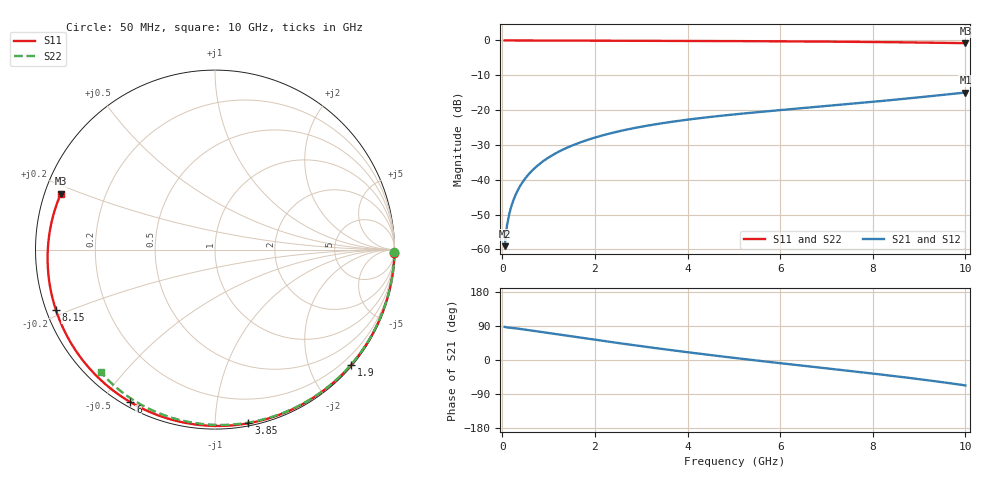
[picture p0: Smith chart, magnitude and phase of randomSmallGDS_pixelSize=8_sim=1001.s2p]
! freq	dB(S11)	phase(S11)	dB(S12)	phase(S12)
!  dB(S21)	phase(S21)	dB(S22)	phase(S22)
!S-par simulation data
#  GHz  S  DB  R 50
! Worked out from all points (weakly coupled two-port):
!   200 points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, 50 MHz to 10 GHz, reference 50 ohm
!   highest |S21| = -14.96 dB at 10 GHz (marker M1); lowest = -59.1 dB at 50 MHz (marker M2)
!   lowest |S11| = -0.8 dB at 10 GHz (marker M3), VSWR 22.27, Z = 2.31 + j8.75 ohm
!   |S11| at or under -10 dB: nowhere
!   |S22| runs from -0.6 to 0.0 dB; largest |S21 - S12| = 0
!   S11 on the Smith chart (normalised r, x): 50 MHz: open; 1.9 GHz: 0.03, -2.72; 3.85 GHz: 0.02, -1.21; 6 GHz: 0.02, -0.59; 8.15 GHz: 0.03, -0.18; 10 GHz: 0.05, +0.17
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0.05  -0.00 -1.1  -59.08 87.3  -59.08 87.3  -0.00 -0.8
0.1  -0.00 -2.2  -53.26 86.1  -53.26 86.1  -0.00 -1.6
0.15  -0.00 -3.3  -49.85 85.5  -49.85 85.5  -0.00 -2.3
0.2  -0.00 -4.3  -47.41 84.8  -47.41 84.8  -0.00 -3.1
0.35  -0.01 -7.6  -42.62 82.6  -42.62 82.6  -0.00 -5.5
0.5  -0.01 -10.8  -39.55 80.1  -39.55 80.1  -0.01 -7.8
0.7  -0.02 -15.1  -36.66 76.6  -36.66 76.6  -0.01 -10.9
1  -0.03 -21.5  -33.62 71.2  -33.62 71.2  -0.02 -15.5
1.75  -0.05 -37.2  -28.96 57.8  -28.96 57.8  -0.04 -26.9
1.9  -0.06 -40.3  -28.30 55.2  -28.30 55.2  -0.04 -29.1
2.65  -0.08 -55.6  -25.70 42.3  -25.70 42.3  -0.06 -40.2
3.4  -0.11 -70.4  -23.88 30.0  -23.88 30.0  -0.08 -51.0
3.85  -0.13 -79.1  -23.01 22.9  -23.01 22.9  -0.10 -57.3
4.45  -0.16 -90.5  -22.03 13.7  -22.03 13.7  -0.12 -65.6
5.05  -0.19 -101.6  -21.18 4.9  -21.18 4.9  -0.14 -73.6
6  -0.25 -119.0  -20.01 -8.4  -20.01 -8.4  -0.19 -85.9
6.7  -0.30 -131.8  -19.19 -17.9  -19.19 -17.9  -0.23 -94.6
7.45  -0.38 -145.8  -18.30 -28.1  -18.30 -28.1  -0.28 -103.6
8.15  -0.46 -159.3  -17.44 -37.9  -17.44 -37.9  -0.35 -111.9
8.35  -0.49 -163.3  -17.19 -40.8  -17.19 -40.8  -0.37 -114.2
9.2  -0.63 178.8  -16.06 -53.6  -16.06 -53.6  -0.47 -124.0
10  -0.78 160.1  -14.96 -67.0  -14.96 -67.0  -0.60 -133.0
